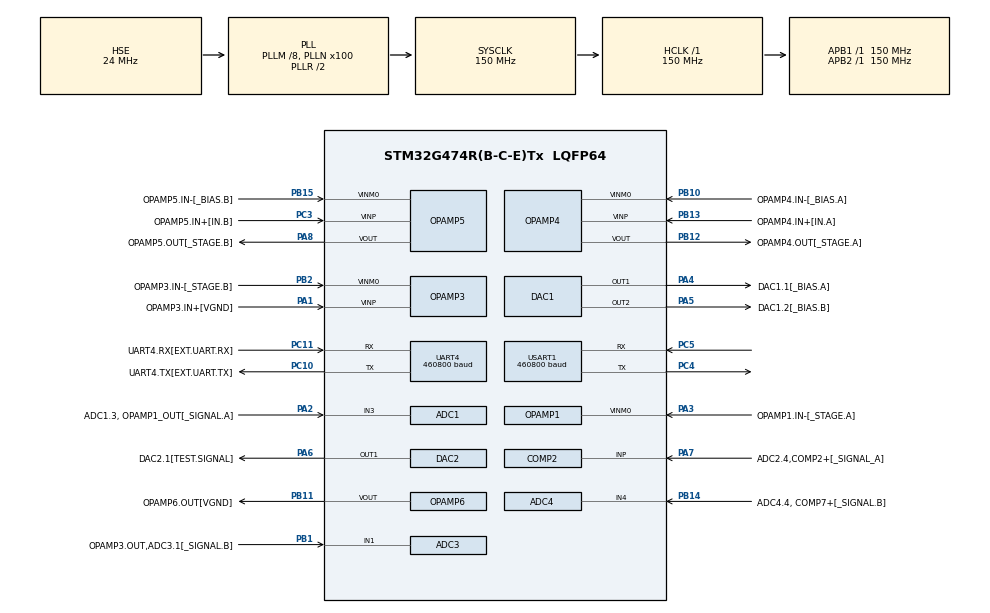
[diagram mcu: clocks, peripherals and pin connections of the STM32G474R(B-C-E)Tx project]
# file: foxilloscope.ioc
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ADC1.Channel-0\#ChannelRegularConversion=ADC_CHANNEL_3
ADC1.ClockPrescaler=ADC_CLOCK_ASYNC_DIV1
ADC1.DMAAccessModeView=ENABLE
ADC1.DMAContinuousRequests=ENABLE
ADC1.EnableInjectedConversion=ENABLE
ADC1.ExternalTrigConv=ADC_EXTERNALTRIG_T2_TRGO
ADC1.InjNumberOfConversion=1
ADC1.InjectedChannel-2\#ChannelInjectedConversion=ADC_CHANNEL_VREFINT
ADC1.InjectedOffsetNumber-2\#ChannelInjectedConversion=ADC_OFFSET_NONE
ADC1.InjectedRank-2\#ChannelInjectedConversion=1
ADC1.InjectedSamplingTime-2\#ChannelInjectedConversion=ADC_SAMPLETIME_640CYCLES_5
ADC1.Mode=ADC_DUALMODE_REGINTERL_INJECSIMULT
ADC1.NbrOfConversionFlag=1
ADC1.OffsetNumber-0\#ChannelRegularConversion=ADC_OFFSET_NONE
ADC1.Overrun=ADC_OVR_DATA_OVERWRITTEN
ADC1.Rank-0\#ChannelRegularConversion=1
ADC1.SamplingTime-0\#ChannelRegularConversion=ADC_SAMPLETIME_2CYCLES_5
ADC1.TwoSamplingDelay=ADC_TWOSAMPLINGDELAY_7CYCLES
ADC1.master=1
ADC2.Channel-1\#ChannelRegularConversion=ADC_CHANNEL_4
ADC2.ClockPrescaler=ADC_CLOCK_ASYNC_DIV1
ADC2.DMAAccessModeView=ENABLE
ADC2.Mode=ADC_DUALMODE_REGINTERL_INJECSIMULT
ADC2.NbrOfConversionFlag=1
ADC2.OffsetNumber-1\#ChannelRegularConversion=ADC_OFFSET_NONE
ADC2.Overrun=ADC_OVR_DATA_OVERWRITTEN
ADC2.Rank-1\#ChannelRegularConversion=1
ADC2.SamplingTime-1\#ChannelRegularConversion=ADC_SAMPLETIME_2CYCLES_5
ADC2.TwoSamplingDelay=ADC_TWOSAMPLINGDELAY_7CYCLES
ADC3.Channel-2\#ChannelRegularConversion=ADC_CHANNEL_1
ADC3.ClockPrescaler=ADC_CLOCK_ASYNC_DIV1
ADC3.DMAAccessModeView=ENABLE
ADC3.DMAContinuousRequests=ENABLE
ADC3.ExternalTrigConv=ADC_EXTERNALTRIG_T2_TRGO
ADC3.Mode=ADC_DUALMODE_INTERL
ADC3.NbrOfConversionFlag=1
ADC3.OffsetNumber-2\#ChannelRegularConversion=ADC_OFFSET_NONE
ADC3.Overrun=ADC_OVR_DATA_OVERWRITTEN
ADC3.Rank-2\#ChannelRegularConversion=1
ADC3.SamplingTime-2\#ChannelRegularConversion=ADC_SAMPLETIME_2CYCLES_5
ADC3.TwoSamplingDelay=ADC_TWOSAMPLINGDELAY_7CYCLES
ADC3.master=1
ADC4.Channel-1\#ChannelRegularConversion=ADC_CHANNEL_4
ADC4.ClockPrescaler=ADC_CLOCK_ASYNC_DIV1
ADC4.DMAAccessModeView=ENABLE
ADC4.Mode=ADC_DUALMODE_INTERL
ADC4.NbrOfConversionFlag=1
ADC4.OffsetNumber-1\#ChannelRegularConversion=ADC_OFFSET_NONE
ADC4.Overrun=ADC_OVR_DATA_OVERWRITTEN
ADC4.Rank-1\#ChannelRegularConversion=1
ADC4.SamplingTime-1\#ChannelRegularConversion=ADC_SAMPLETIME_2CYCLES_5
ADC4.TwoSamplingDelay=ADC_TWOSAMPLINGDELAY_7CYCLES
COMP2.Hysteresis=COMP_HYSTERESIS_50MV
COMP2.TriggerMode=COMP_TRIGGERMODE_IT_RISING_FALLING
COMP7.Hysteresis=COMP_HYSTERESIS_50MV
COMP7.TriggerMode=COMP_TRIGGERMODE_IT_RISING_FALLING
DAC1.DAC_Channel-DAC_OUT2=DAC_CHANNEL_2
DAC2.DAC_DMADoubleDataMode-DAC_OUT1=ENABLE
DAC2.DAC_Trigger_OUT1-DAC_OUT1=DAC_TRIGGER_T15_TRGO
DAC3.DAC_Channel-DAC_OUT2_Int=DAC_CHANNEL_2
DAC3.DAC_HighFrequency_OUT1-DAC_OUT1_Int=DAC_HIGH_FREQUENCY_INTERFACE_MODE_DISABLE
DAC3.DAC_HighFrequency_OUT2-DAC_OUT2_Int=DAC_HIGH_FREQUENCY_INTERFACE_MODE_DISABLE
DAC3.DAC_SampleAndHold-DAC_OUT1_Int=DAC_SAMPLEANDHOLD_DISABLE
Dma.ADC1.1.Direction=DMA_PERIPH_TO_MEMORY
Dma.ADC1.1.EventEnable=DISABLE
Dma.ADC1.1.Instance=DMA1_Channel5
Dma.ADC1.1.MemDataAlignment=DMA_MDATAALIGN_WORD
Dma.ADC1.1.MemInc=DMA_MINC_ENABLE
Dma.ADC1.1.Mode=DMA_CIRCULAR
Dma.ADC1.1.PeriphDataAlignment=DMA_PDATAALIGN_WORD
Dma.ADC1.1.PeriphInc=DMA_PINC_DISABLE
Dma.ADC1.1.Polarity=HAL_DMAMUX_REQ_GEN_RISING
Dma.ADC1.1.Priority=DMA_PRIORITY_LOW
Dma.ADC1.1.RequestNumber=1
Dma.ADC1.1.SignalID=NONE
Dma.ADC1.1.SyncEnable=DISABLE
Dma.ADC1.1.SyncPolarity=HAL_DMAMUX_SYNC_NO_EVENT
Dma.ADC1.1.SyncRequestNumber=1
Dma.ADC1.1.SyncSignalID=NONE
Dma.ADC3.3.Direction=DMA_PERIPH_TO_MEMORY
Dma.ADC3.3.EventEnable=DISABLE
Dma.ADC3.3.Instance=DMA1_Channel3
Dma.ADC3.3.MemDataAlignment=DMA_MDATAALIGN_WORD
Dma.ADC3.3.MemInc=DMA_MINC_ENABLE
Dma.ADC3.3.Mode=DMA_CIRCULAR
Dma.ADC3.3.PeriphDataAlignment=DMA_PDATAALIGN_WORD
Dma.ADC3.3.PeriphInc=DMA_PINC_DISABLE
Dma.ADC3.3.Polarity=HAL_DMAMUX_REQ_GEN_RISING
Dma.ADC3.3.Priority=DMA_PRIORITY_LOW
Dma.ADC3.3.RequestNumber=1
Dma.ADC3.3.SignalID=NONE
Dma.ADC3.3.SyncEnable=DISABLE
Dma.ADC3.3.SyncPolarity=HAL_DMAMUX_SYNC_NO_EVENT
Dma.ADC3.3.SyncRequestNumber=1
Dma.ADC3.3.SyncSignalID=NONE
Dma.DAC2_CH1.6.Direction=DMA_MEMORY_TO_PERIPH
Dma.DAC2_CH1.6.EventEnable=DISABLE
Dma.DAC2_CH1.6.Instance=DMA1_Channel1
Dma.DAC2_CH1.6.MemDataAlignment=DMA_MDATAALIGN_WORD
Dma.DAC2_CH1.6.MemInc=DMA_MINC_ENABLE
Dma.DAC2_CH1.6.Mode=DMA_CIRCULAR
Dma.DAC2_CH1.6.PeriphDataAlignment=DMA_PDATAALIGN_WORD
Dma.DAC2_CH1.6.PeriphInc=DMA_PINC_DISABLE
Dma.DAC2_CH1.6.Polarity=HAL_DMAMUX_REQ_GEN_RISING
Dma.DAC2_CH1.6.Priority=DMA_PRIORITY_LOW
Dma.DAC2_CH1.6.RequestNumber=1
Dma.DAC2_CH1.6.SignalID=NONE
Dma.DAC2_CH1.6.SyncEnable=DISABLE
Dma.DAC2_CH1.6.SyncPolarity=HAL_DMAMUX_SYNC_NO_EVENT
Dma.DAC2_CH1.6.SyncRequestNumber=1
Dma.DAC2_CH1.6.SyncSignalID=NONE
Dma.MEMTOMEM.0.Direction=DMA_MEMORY_TO_MEMORY
Dma.MEMTOMEM.0.EventEnable=DISABLE
Dma.MEMTOMEM.0.Instance=DMA1_Channel2
Dma.MEMTOMEM.0.MemDataAlignment=DMA_MDATAALIGN_WORD
Dma.MEMTOMEM.0.MemInc=DMA_MINC_ENABLE
Dma.MEMTOMEM.0.Mode=DMA_NORMAL
Dma.MEMTOMEM.0.PeriphDataAlignment=DMA_PDATAALIGN_WORD
Dma.MEMTOMEM.0.PeriphInc=DMA_PINC_ENABLE
Dma.MEMTOMEM.0.Polarity=HAL_DMAMUX_REQ_GEN_RISING
Dma.MEMTOMEM.0.Priority=DMA_PRIORITY_LOW
Dma.MEMTOMEM.0.RequestNumber=1
Dma.MEMTOMEM.0.SignalID=NONE
Dma.MEMTOMEM.0.SyncEnable=DISABLE
Dma.MEMTOMEM.0.SyncPolarity=HAL_DMAMUX_SYNC_NO_EVENT
Dma.MEMTOMEM.0.SyncRequestNumber=1
Dma.MEMTOMEM.0.SyncSignalID=NONE
Dma.MEMTOMEM.2.Direction=DMA_MEMORY_TO_MEMORY
Dma.MEMTOMEM.2.EventEnable=DISABLE
Dma.MEMTOMEM.2.Instance=DMA1_Channel6
Dma.MEMTOMEM.2.MemDataAlignment=DMA_MDATAALIGN_WORD
Dma.MEMTOMEM.2.MemInc=DMA_MINC_ENABLE
Dma.MEMTOMEM.2.Mode=DMA_NORMAL
Dma.MEMTOMEM.2.PeriphDataAlignment=DMA_PDATAALIGN_WORD
Dma.MEMTOMEM.2.PeriphInc=DMA_PINC_ENABLE
Dma.MEMTOMEM.2.Polarity=HAL_DMAMUX_REQ_GEN_RISING
Dma.MEMTOMEM.2.Priority=DMA_PRIORITY_LOW
Dma.MEMTOMEM.2.RequestNumber=1
Dma.MEMTOMEM.2.SignalID=NONE
Dma.MEMTOMEM.2.SyncEnable=DISABLE
Dma.MEMTOMEM.2.SyncPolarity=HAL_DMAMUX_SYNC_NO_EVENT
Dma.MEMTOMEM.2.SyncRequestNumber=1
Dma.MEMTOMEM.2.SyncSignalID=NONE
Dma.Request0=MEMTOMEM
Dma.Request1=ADC1
Dma.Request2=MEMTOMEM
Dma.Request3=ADC3
Dma.Request4=UART4_TX
Dma.Request5=USART1_TX
Dma.Request6=DAC2_CH1
Dma.UART4_TX.4.Direction=DMA_MEMORY_TO_PERIPH
Dma.UART4_TX.4.EventEnable=DISABLE
Dma.UART4_TX.4.Instance=DMA1_Channel7
Dma.UART4_TX.4.MemDataAlignment=DMA_MDATAALIGN_BYTE
Dma.UART4_TX.4.MemInc=DMA_MINC_ENABLE
Dma.UART4_TX.4.Mode=DMA_NORMAL
Dma.UART4_TX.4.PeriphDataAlignment=DMA_PDATAALIGN_BYTE
Dma.UART4_TX.4.PeriphInc=DMA_PINC_DISABLE
Dma.UART4_TX.4.Polarity=HAL_DMAMUX_REQ_GEN_RISING
Dma.UART4_TX.4.Priority=DMA_PRIORITY_LOW
Dma.UART4_TX.4.RequestNumber=1
Dma.UART4_TX.4.SignalID=NONE
Dma.UART4_TX.4.SyncEnable=DISABLE
Dma.UART4_TX.4.SyncPolarity=HAL_DMAMUX_SYNC_NO_EVENT
Dma.UART4_TX.4.SyncRequestNumber=1
Dma.UART4_TX.4.SyncSignalID=NONE
Dma.USART1_TX.5.Direction=DMA_MEMORY_TO_PERIPH
Dma.USART1_TX.5.EventEnable=DISABLE
Dma.USART1_TX.5.Instance=DMA1_Channel4
Dma.USART1_TX.5.MemDataAlignment=DMA_MDATAALIGN_BYTE
Dma.USART1_TX.5.MemInc=DMA_MINC_ENABLE
Dma.USART1_TX.5.Mode=DMA_NORMAL
Dma.USART1_TX.5.PeriphDataAlignment=DMA_PDATAALIGN_BYTE
Dma.USART1_TX.5.PeriphInc=DMA_PINC_DISABLE
Dma.USART1_TX.5.Polarity=HAL_DMAMUX_REQ_GEN_RISING
Dma.USART1_TX.5.Priority=DMA_PRIORITY_LOW
Dma.USART1_TX.5.RequestNumber=1
Dma.USART1_TX.5.SignalID=NONE
Dma.USART1_TX.5.SyncEnable=DISABLE
Dma.USART1_TX.5.SyncPolarity=HAL_DMAMUX_SYNC_NO_EVENT
Dma.USART1_TX.5.SyncRequestNumber=1
Dma.USART1_TX.5.SyncSignalID=NONE
FREERTOS.BinarySemaphores01=transmitBufferBusy,Static,transmitBufferBusyControlBlock,Available;transmitKeyBufferBusy,Static,transmitKeyBufferBusyControlBlock,Available
FREERTOS.Queues01=cmdRxQueue,512,uint8_t,0,Static,cmdRxQueueBuffer,cmdRxQueueControlBlock
FREERTOS.Tasks01=defaultTask,24,128,startDefaultTask,Default,NULL,Static,defaultTaskBuffer,defaultTaskControlBlock;transmitTask,8,200,startTransmitTask,As external,NULL,Static,transmitTaskBuffer,transmitTaskControlBlock;keyFrameTask,40,200,keyFramesProcessing,As external,NULL,Static,keyFrameTaskBuffer,keyFrameTaskControlBlock
FREERTOS.Timers01=partialFrameTimer,partialFrameSend,osTimerPeriodic,As external,NULL,Static,partialFrameTimerControlBlock
FREERTOS.configENABLE_BACKWARD_COMPATIBILITY=1
FREERTOS.configENABLE_FPU=0
FREERTOS.configGENERATE_RUN_TIME_STATS=0
FREERTOS.configTOTAL_HEAP_SIZE=30720
FREERTOS.configUSE_IDLE_HOOK=1
Mcu.Family=STM32G4
Mcu.Name=STM32G474R(B-C-E)Tx
Mcu.Package=LQFP64
Mcu.UserConstants=TEST_SIGNAL_DAC,$$_DAC2_IP_HANDLE_$$;TEST_SIGNAL_DAC_CHANNEL,DAC_CHANNEL_1;BIAS_DAC_CHANNEL_A,DAC_CHANNEL_1;BIAS_DAC_CHANNEL_B,DAC_CHANNEL_2;TRG_A_DAC_CHANNEL,DAC_CHANNEL_2;VGND_DAC_CHANNEL,DAC_CHANNEL_1;STAGE_A2_OPAMP,$$_OPAMP1_IP_HANDLE_$$;STAGE_B2_OPAMP,$$_OPAMP3_IP_HANDLE_$$;VGND_TRG_A_DAC,$$_DAC3_IP_HANDLE_$$;STAGE_A1_OPAMP,$$_OPAMP4_IP_HANDLE_$$;VGND_OPAMP,$$_OPAMP6_IP_HANDLE_$$;BIAS_DAC,$$_DAC1_IP_HANDLE_$$;STAGE_B1_OPAMP,$$_OPAMP5_IP_HANDLE_$$;COMP_A,$$_COMP2_IP_HANDLE_$$;COMP_B,$$_COMP7_IP_HANDLE_$$;TRG_B_DAC,$$_DAC4_IP_HANDLE_$$;TRG_B_DAC_CHANNEL,DAC_CHANNEL_1
NVIC.COMP1_2_3_IRQn=true\:0\:0\:true\:false\:true\:false\:false\:true\:true
NVIC.COMP7_IRQn=true\:0\:0\:true\:false\:true\:false\:false\:true\:true
NVIC.DMA1_Channel2_IRQn=true\:5\:0\:false\:false\:true\:true\:true\:true\:true
NVIC.DMA1_Channel3_IRQn=true\:5\:0\:false\:false\:true\:true\:false\:true\:true
NVIC.DMA1_Channel4_IRQn=true\:5\:0\:false\:false\:true\:true\:false\:true\:true
NVIC.DMA1_Channel5_IRQn=true\:5\:0\:false\:false\:true\:true\:false\:true\:true
NVIC.DMA1_Channel6_IRQn=true\:5\:0\:false\:false\:true\:true\:true\:true\:true
NVIC.DMA1_Channel7_IRQn=true\:5\:0\:false\:false\:true\:true\:false\:true\:true
NVIC.PriorityGroup=NVIC_PRIORITYGROUP_4
NVIC.TIM1_CC_IRQn=true\:5\:0\:false\:false\:true\:true\:true\:true\:true
NVIC.TIM7_DAC_IRQn=true\:15\:0\:false\:false\:true\:false\:false\:true\:true
NVIC.TimeBase=TIM7_DAC_IRQn
NVIC.TimeBaseIP=TIM7
NVIC.UART4_IRQn=true\:5\:0\:false\:false\:true\:true\:true\:true\:true
NVIC.USART1_IRQn=true\:5\:0\:false\:false\:true\:true\:true\:true\:true
OPAMP1.PowerMode=OPAMP_POWERMODE_HIGHSPEED
OPAMP3.PowerMode=OPAMP_POWERMODE_HIGHSPEED
OPAMP4.PowerMode=OPAMP_POWERMODE_HIGHSPEED
OPAMP6.PowerMode=OPAMP_POWERMODE_HIGHSPEED
PA1.GPIO_Label=OPAMP3.IN+[VGND]
PA1.Mode=PGA Connected-INVERTINGINPUT_IO0_BIAS
PA1.Signal=OPAMP3_VINP
PA13.Mode=Serial_Wire
PA13.Signal=SYS_JTMS-SWDIO
PA14.Mode=Serial_Wire
PA14.Signal=SYS_JTCK-SWCLK
PA2.GPIO_Label=ADC1.3, OPAMP1_OUT[_SIGNAL.A]
PA2.Signal=SharedAnalog_PA2
PA3.GPIO_Label=OPAMP1.IN-[_STAGE.A]
PA3.Mode=PGA Connected-INVERTINGINPUT_IO0_BIAS-DAC_OUT1-INP
PA3.Signal=OPAMP1_VINM0
PA4.GPIO_Label=DAC1.1[_BIAS.A]
PA4.Signal=COMP_DAC11_group
PA5.GPIO_Label=DAC1.2[_BIAS.B]
PA5.Signal=COMP_DAC12_group
PA6.GPIO_Label=DAC2.1[TEST.SIGNAL]
PA6.Signal=COMP_DAC21_group
PA7.GPIO_Label=ADC2.4,COMP2+[_SIGNAL_A]
PA7.Signal=SharedAnalog_PA7
PA8.GPIO_Label=OPAMP5.OUT[_STAGE.B]
PA8.Mode=PGA Connected-INVERTINGINPUT_IO0_BIAS
PA8.Signal=OPAMP5_VOUT
PB1.GPIO_Label=OPAMP3.OUT,ADC3.1[_SIGNAL.B]
PB1.Signal=SharedAnalog_PB1
PB10.GPIO_Label=OPAMP4.IN-[_BIAS.A]
PB10.Mode=PGA Connected-INVERTINGINPUT_IO0_BIAS
PB10.Signal=OPAMP4_VINM0
PB11.GPIO_Label=OPAMP6.OUT[VGND]
PB11.Mode=Follower-DAC_OUT2-INP
PB11.Signal=OPAMP6_VOUT
PB12.GPIO_Label=OPAMP4.OUT[_STAGE.A]
PB12.Mode=PGA Connected-INVERTINGINPUT_IO0_BIAS
PB12.Signal=OPAMP4_VOUT
PB13.GPIO_Label=OPAMP4.IN+[IN.A]
PB13.Mode=PGA Connected-INVERTINGINPUT_IO0_BIAS
PB13.Signal=OPAMP4_VINP
PB14.GPIO_Label=ADC4.4, COMP7+[_SIGNAL.B]
PB14.Signal=SharedAnalog_PB14
PB15.GPIO_Label=OPAMP5.IN-[_BIAS.B]
PB15.Mode=PGA Connected-INVERTINGINPUT_IO0_BIAS
PB15.Signal=OPAMP5_VINM0
PB2.GPIO_Label=OPAMP3.IN-[_STAGE.B]
PB2.Mode=PGA Connected-INVERTINGINPUT_IO0_BIAS
PB2.Signal=OPAMP3_VINM0
PC10.GPIO_Label=UART4.TX[EXT.UART.TX]
PC10.GPIO_Speed=GPIO_SPEED_FREQ_LOW
PC10.Mode=Asynchronous
PC10.Signal=UART4_TX
PC11.GPIO_Label=UART4.RX[EXT.UART.RX]
PC11.GPIO_PuPd=GPIO_PULLDOWN
PC11.GPIO_Speed=GPIO_SPEED_FREQ_LOW
PC11.Mode=Asynchronous
PC11.Signal=UART4_RX
PC3.GPIO_Label=OPAMP5.IN+[IN.B]
PC3.Mode=PGA Connected-INVERTINGINPUT_IO0_BIAS
PC3.Signal=OPAMP5_VINP
PC4.Mode=Asynchronous
PC4.Signal=USART1_TX
PC5.Mode=Asynchronous
PC5.Signal=USART1_RX
PF0-OSC_IN.Mode=HSE-External-Oscillator
PF0-OSC_IN.Signal=RCC_OSC_IN
PF1-OSC_OUT.Mode=HSE-External-Oscillator
PF1-OSC_OUT.Signal=RCC_OSC_OUT
ProjectManager.HeapSize=0x200
ProjectManager.StackSize=0x400
ProjectManager.TargetToolchain=CMake
RCC.ADC12CLockSelection=RCC_ADC12CLKSOURCE_PLL
RCC.ADC12Freq_Value=60000000
RCC.ADC345CLockSelection=RCC_ADC345CLKSOURCE_PLL
RCC.ADC345Freq_Value=60000000
RCC.AHBFreq_Value=150000000
RCC.APB1Freq_Value=150000000
RCC.APB1TimFreq_Value=150000000
RCC.APB2Freq_Value=150000000
RCC.APB2TimFreq_Value=150000000
RCC.CortexFreq_Value=150000000
RCC.EXTERNAL_CLOCK_VALUE=12288000
RCC.HCLKFreq_Value=150000000
RCC.HSE_VALUE=24000000
RCC.HSI48_VALUE=48000000
RCC.HSI_VALUE=16000000
RCC.LSE_VALUE=32768
RCC.PLLM=RCC_PLLM_DIV8
RCC.PLLN=100
RCC.PLLP=RCC_PLLP_DIV5
RCC.PLLSourceVirtual=RCC_PLLSOURCE_HSE
RCC.RTCClockSelection=RCC_RTCCLKSOURCE_LSE
RCC.SYSCLKFreq_VALUE=150000000
RCC.SYSCLKSource=RCC_SYSCLKSOURCE_PLLCLK
RCC.USBFreq_Value=150000000
RCC.VCOOutputFreq_Value=300000000
SH.COMP_DAC11_group.0=DAC1_OUT1,DAC_OUT1
SH.COMP_DAC12_group.0=DAC1_OUT2,DAC_OUT2
SH.COMP_DAC21_group.0=DAC2_OUT1,DAC_OUT1
SH.SharedAnalog_PA2.0=ADC1_IN3,IN3-Single-Ended
SH.SharedAnalog_PA2.1=OPAMP1_VOUT,PGA Connected-INVERTINGINPUT_IO0_BIAS-DAC_OUT1-INP
SH.SharedAnalog_PA7.0=COMP2_INP,INP
SH.SharedAnalog_PA7.1=ADC2_IN4,IN4-Single-Ended
SH.SharedAnalog_PB1.0=ADC3_IN1,IN1-Single-Ended
SH.SharedAnalog_PB1.1=OPAMP3_VOUT,PGA Connected-INVERTINGINPUT_IO0_BIAS
SH.SharedAnalog_PB14.0=ADC4_IN4,IN4-Single-Ended
SH.SharedAnalog_PB14.1=COMP7_INP,INP
TIM1.Channel-PWM\ Generation1\ No\ Output=TIM_CHANNEL_1
TIM1.ClockDivision=TIM_CLOCKDIVISION_DIV1
TIM1.CounterMode=TIM_COUNTERMODE_UP
TIM1.Dithering=Disable
TIM1.OCIdleState_1=TIM_OCIDLESTATE_SET
TIM1.OCMode_PWM-PWM\ Generation1\ No\ Output=TIM_OCMODE_PWM1
TIM1.PeriodNoDither=65535
TIM1.Prescaler=0
TIM1.PulseNoDither_1=99
TIM1.TIM_MasterOutputTrigger=TIM_TRGO_OC1REF
TIM15.PeriodNoDither=16
TIM15.Prescaler=30
TIM15.TIM_MasterOutputTrigger=TIM_TRGO_UPDATE
TIM2.PeriodNoDither=19
TIM2.Prescaler=39
TIM2.TIM_MasterOutputTrigger=TIM_TRGO_UPDATE
UART4.BaudRate=460800
UART4.FIFOMode=FIFOMODE_ENABLE
UART4.TXFIFOThreshold=TXFIFO_THRESHOLD_HALFFULL
USART1.BaudRate=460800
USART1.FIFOMode=FIFOMODE_ENABLE
USART1.TXFIFOThreshold=TXFIFO_THRESHOLD_HALFFULL
USART1.VirtualMode-Asynchronous=VM_ASYNC
VP_ADC1_Vref_Input.Mode=IN-Vrefint
VP_COMP2_VS_DAC3OUT2.Mode=INM_DAC3OUT2
VP_COMP7_VS_DAC4OUT1.Mode=INM_DAC4OUT1
VP_DAC3_VS_DACI1.Mode=DAC_OUT1_Int
VP_DAC3_VS_DACI2.Mode=DAC_OUT2_Int
VP_DAC4_VS_DACI1.Mode=DAC_OUT1_Int
VP_FREERTOS_VS_CMSIS_V2.Mode=CMSIS_V2
VP_SYS_VS_DBSignals.Mode=DisableDeadBatterySignals
VP_SYS_VS_tim7.Mode=TIM7
VP_SYS_V_VREFBUF.Mode=ExternalMode
VP_TIM15_VS_ClockSourceINT.Mode=Internal
VP_TIM1_VS_ClockSourceITR.Mode=TriggerSource_ITR1
VP_TIM1_VS_ControllerModeClock.Mode=Clock Mode
VP_TIM1_VS_OPM.Mode=OPM_bit
VP_TIM1_VS_no_output1.Mode=PWM Generation1 No Output
VP_TIM2_VS_ClockSourceINT.Mode=Internal
VP_TIM2_VS_ClockSourceITR.Mode=TriggerSource_ITR0
VP_TIM2_VS_ControllerModeGated.Mode=Gated Mode
board=NUCLEO-G474RE

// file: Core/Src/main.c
/* USER CODE BEGIN Header */
/**
  ******************************************************************************
  * @file           : main.c
  * @brief          : Main program body
  ******************************************************************************
  * @attention
  *
  * Copyright (c) 2026 STMicroelectronics.
  * All rights reserved.
  *
  * This software is licensed under terms that can be found in the LICENSE file
  * in the root directory of this software component.
  * If no LICENSE file comes with this software, it is provided AS-IS.
  *
  ******************************************************************************
  */
/* USER CODE END Header */
#include "main.h"
#include "cmsis_os.h"
#include "adc.h"
#include "comp.h"
#include "dac.h"
#include "dma.h"
#include "opamp.h"
#include "tim.h"
#include "usart.h"
#include "gpio.h"

void SystemClock_Config(void);
void MX_FREERTOS_Init(void);

/* USER CODE BEGIN 0 */
void startSysBootloader(void)
{
  __disable_irq();

  /* Stop peripherals, SysTick, DMA, etc. */

  HAL_RCC_DeInit();
  HAL_DeInit();

  SysTick->CTRL = 0;
  SysTick->LOAD = 0;
  SysTick->VAL = 0;

  /* Remap System Memory */
  __HAL_SYSCFG_REMAPMEMORY_SYSTEMFLASH();

  /* Load MSP from System Memory */
  const uint32_t bootAddr = 0x1FFF0000;   // STM32G4 System Memory start
  __set_MSP(*(uint32_t *)bootAddr);

  /* Jump to Reset_Handler in System Memory */
  void (*SysMemBootJump)(void) = (void (*)(void))(*(uint32_t*)(bootAddr + 4));
  SysMemBootJump();

}
/* USER CODE END 0 */

int main(void)
{

  /* MCU Configuration--------------------------------------------------------*/

  /* Reset of all peripherals, Initializes the Flash interface and the Systick. */
  HAL_Init();

  /* Configure the system clock */
  SystemClock_Config();

  /* Initialize all configured peripherals */
  MX_GPIO_Init();
  MX_DMA_Init();
  MX_DAC1_Init();
  MX_TIM1_Init();
  MX_TIM15_Init();
  MX_TIM2_Init();
  MX_DAC3_Init();
  MX_ADC1_Init();
  MX_ADC2_Init();
  MX_UART4_Init();
  MX_ADC3_Init();
  MX_ADC4_Init();
  MX_DAC2_Init();
  MX_USART1_UART_Init();
  MX_OPAMP6_Init();
  MX_OPAMP1_Init();
  MX_OPAMP4_Init();
  MX_OPAMP3_Init();
  MX_OPAMP5_Init();
  MX_COMP2_Init();
  MX_COMP7_Init();
  MX_DAC4_Init();

  /* Init scheduler */
  osKernelInitialize();  /* Call init function for freertos objects (in cmsis_os2.c) */
  MX_FREERTOS_Init();

  /* Start scheduler */
  osKernelStart();

  /* We should never get here as control is now taken by the scheduler */

  /* Infinite loop */

}

void SystemClock_Config(void)
{
  RCC_OscInitTypeDef RCC_OscInitStruct = {0};
  RCC_ClkInitTypeDef RCC_ClkInitStruct = {0};

  /** Configure the main internal regulator output voltage
  */
  HAL_PWREx_ControlVoltageScaling(PWR_REGULATOR_VOLTAGE_SCALE1);

  /** Initializes the RCC Oscillators according to the specified parameters
  * in the RCC_OscInitTypeDef structure.
  */
  RCC_OscInitStruct.OscillatorType = RCC_OSCILLATORTYPE_HSE;
  RCC_OscInitStruct.HSEState = RCC_HSE_ON;
  RCC_OscInitStruct.PLL.PLLState = RCC_PLL_ON;
  RCC_OscInitStruct.PLL.PLLSource = RCC_PLLSOURCE_HSE;
  RCC_OscInitStruct.PLL.PLLM = RCC_PLLM_DIV8;
  RCC_OscInitStruct.PLL.PLLN = 100;
  RCC_OscInitStruct.PLL.PLLP = RCC_PLLP_DIV5;
  RCC_OscInitStruct.PLL.PLLQ = RCC_PLLQ_DIV2;
  RCC_OscInitStruct.PLL.PLLR = RCC_PLLR_DIV2;
  if (HAL_RCC_OscConfig(&RCC_OscInitStruct) != HAL_OK)
  {
    Error_Handler();
  }

  /** Initializes the CPU, AHB and APB buses clocks
  */
  RCC_ClkInitStruct.ClockType = RCC_CLOCKTYPE_HCLK|RCC_CLOCKTYPE_SYSCLK
                              |RCC_CLOCKTYPE_PCLK1|RCC_CLOCKTYPE_PCLK2;
  RCC_ClkInitStruct.SYSCLKSource = RCC_SYSCLKSOURCE_PLLCLK;
  RCC_ClkInitStruct.AHBCLKDivider = RCC_SYSCLK_DIV1;
  RCC_ClkInitStruct.APB1CLKDivider = RCC_HCLK_DIV1;
  RCC_ClkInitStruct.APB2CLKDivider = RCC_HCLK_DIV1;

  if (HAL_RCC_ClockConfig(&RCC_ClkInitStruct, FLASH_LATENCY_4) != HAL_OK)
  {
    Error_Handler();
  }
}

void HAL_TIM_PeriodElapsedCallback(TIM_HandleTypeDef *htim)
{
  if (htim->Instance == TIM7)
  {
    HAL_IncTick();
  }
}

void Error_Handler(void)
{
  /* USER CODE BEGIN Error_Handler_Debug */
  /* User can add his own implementation to report the HAL error return state */
  __disable_irq();
  // ReSharper disable once CppDFAEndlessLoop
  while (1)
  {
  }
  /* USER CODE END Error_Handler_Debug */
}

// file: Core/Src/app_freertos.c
/* USER CODE BEGIN Header */
/**
  ******************************************************************************
  * File Name          : app_freertos.c
  * Description        : Code for freertos applications
  ******************************************************************************
  * @attention
  *
  * Copyright (c) 2026 STMicroelectronics.
  * All rights reserved.
  *
  * This software is licensed under terms that can be found in the LICENSE file
  * in the root directory of this software component.
  * If no LICENSE file comes with this software, it is provided AS-IS.
  *
  ******************************************************************************
  */
/* USER CODE END Header */

#include "FreeRTOS.h"
#include "task.h"
#include "main.h"
#include "cmsis_os.h"

typedef StaticTask_t osStaticThreadDef_t;
typedef StaticQueue_t osStaticMessageQDef_t;
typedef StaticTimer_t osStaticTimerDef_t;
typedef StaticSemaphore_t osStaticSemaphoreDef_t;

/* Definitions for defaultTask */
osThreadId_t defaultTaskHandle;
uint32_t defaultTaskBuffer[ 128 ];
osStaticThreadDef_t defaultTaskControlBlock;
const osThreadAttr_t defaultTask_attributes = {
  .name = "defaultTask",
  .stack_mem = &defaultTaskBuffer[0],
  .stack_size = sizeof(defaultTaskBuffer),
  .cb_mem = &defaultTaskControlBlock,
  .cb_size = sizeof(defaultTaskControlBlock),
  .priority = (osPriority_t) osPriorityNormal,
};
/* Definitions for transmitTask */
osThreadId_t transmitTaskHandle;
uint32_t transmitTaskBuffer[ 200 ];
osStaticThreadDef_t transmitTaskControlBlock;
const osThreadAttr_t transmitTask_attributes = {
  .name = "transmitTask",
  .stack_mem = &transmitTaskBuffer[0],
  .stack_size = sizeof(transmitTaskBuffer),
  .cb_mem = &transmitTaskControlBlock,
  .cb_size = sizeof(transmitTaskControlBlock),
  .priority = (osPriority_t) osPriorityLow,
};
/* Definitions for keyFrameTask */
osThreadId_t keyFrameTaskHandle;
uint32_t keyFrameTaskBuffer[ 200 ];
osStaticThreadDef_t keyFrameTaskControlBlock;
const osThreadAttr_t keyFrameTask_attributes = {
  .name = "keyFrameTask",
  .stack_mem = &keyFrameTaskBuffer[0],
  .stack_size = sizeof(keyFrameTaskBuffer),
  .cb_mem = &keyFrameTaskControlBlock,
  .cb_size = sizeof(keyFrameTaskControlBlock),
  .priority = (osPriority_t) osPriorityHigh,
};
/* Definitions for cmdRxQueue */
osMessageQueueId_t cmdRxQueueHandle;
uint8_t cmdRxQueueBuffer[ 512 * sizeof( uint8_t ) ];
osStaticMessageQDef_t cmdRxQueueControlBlock;
const osMessageQueueAttr_t cmdRxQueue_attributes = {
  .name = "cmdRxQueue",
  .cb_mem = &cmdRxQueueControlBlock,
  .cb_size = sizeof(cmdRxQueueControlBlock),
  .mq_mem = &cmdRxQueueBuffer,
  .mq_size = sizeof(cmdRxQueueBuffer)
};
/* Definitions for partialFrameTimer */
osTimerId_t partialFrameTimerHandle;
osStaticTimerDef_t partialFrameTimerControlBlock;
const osTimerAttr_t partialFrameTimer_attributes = {
  .name = "partialFrameTimer",
  .cb_mem = &partialFrameTimerControlBlock,
  .cb_size = sizeof(partialFrameTimerControlBlock),
};
/* Definitions for transmitBufferBusy */
osSemaphoreId_t transmitBufferBusyHandle;
osStaticSemaphoreDef_t transmitBufferBusyControlBlock;
const osSemaphoreAttr_t transmitBufferBusy_attributes = {
  .name = "transmitBufferBusy",
  .cb_mem = &transmitBufferBusyControlBlock,
  .cb_size = sizeof(transmitBufferBusyControlBlock),
};
/* Definitions for transmitKeyBufferBusy */
osSemaphoreId_t transmitKeyBufferBusyHandle;
osStaticSemaphoreDef_t transmitKeyBufferBusyControlBlock;
const osSemaphoreAttr_t transmitKeyBufferBusy_attributes = {
  .name = "transmitKeyBufferBusy",
  .cb_mem = &transmitKeyBufferBusyControlBlock,
  .cb_size = sizeof(transmitKeyBufferBusyControlBlock),
};

/* USER CODE BEGIN FunctionPrototypes */
void initialize_test_signal(void);

/* USER CODE END FunctionPrototypes */

void startDefaultTask(void *argument);
extern void startTransmitTask(void *argument);
extern void keyFramesProcessing(void *argument);
extern void partialFrameSend(void *argument);

void MX_FREERTOS_Init(void); /* (MISRA C 2004 rule 8.1) */

/* Hook prototypes */
void vApplicationIdleHook(void);

/* USER CODE BEGIN 2 */
void vApplicationIdleHook( void )
{
  __DSB();
  __WFI();
  __ISB();
}
/* USER CODE END 2 */

void MX_FREERTOS_Init(void) {

  /* Create the semaphores(s) */
  /* creation of transmitBufferBusy */
  transmitBufferBusyHandle = osSemaphoreNew(1, 1, &transmitBufferBusy_attributes);

  /* creation of transmitKeyBufferBusy */
  transmitKeyBufferBusyHandle = osSemaphoreNew(1, 1, &transmitKeyBufferBusy_attributes);

  /* Create the timer(s) */
  /* creation of partialFrameTimer */
  partialFrameTimerHandle = osTimerNew(partialFrameSend, osTimerPeriodic, NULL, &partialFrameTimer_attributes);

  /* Create the queue(s) */
  /* creation of cmdRxQueue */
  cmdRxQueueHandle = osMessageQueueNew (512, sizeof(uint8_t), &cmdRxQueue_attributes);

  /* Create the thread(s) */
  /* creation of defaultTask */
  defaultTaskHandle = osThreadNew(startDefaultTask, NULL, &defaultTask_attributes);

  /* creation of transmitTask */
  transmitTaskHandle = osThreadNew(startTransmitTask, NULL, &transmitTask_attributes);

  /* creation of keyFrameTask */
  keyFrameTaskHandle = osThreadNew(keyFramesProcessing, NULL, &keyFrameTask_attributes);

}

void startDefaultTask(void *argument)
{
  /* USER CODE BEGIN startDefaultTask */
  (void) argument;
  run_oscilloscope();
  /* USER CODE END startDefaultTask */
}
